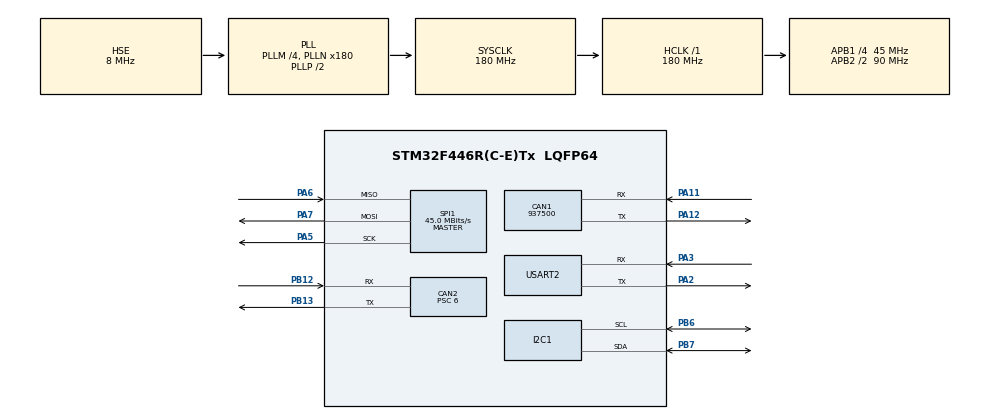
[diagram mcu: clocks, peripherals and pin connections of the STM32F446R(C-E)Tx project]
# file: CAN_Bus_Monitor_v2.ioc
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CAN1.BS1=CAN_BS1_1TQ
CAN1.BS2=CAN_BS2_1TQ
CAN1.CalculateBaudRate=937500
CAN1.CalculateTimeBit=1066
CAN1.CalculateTimeQuantum=355.55555555555554
CAN2.BS1=CAN_BS1_11TQ
CAN2.BS2=CAN_BS2_2TQ
CAN2.CalculateBaudRate=535714
CAN2.CalculateTimeBit=1866
CAN2.CalculateTimeQuantum=133.33333333333331
CAN2.Mode=CAN_MODE_LOOPBACK
CAN2.Prescaler=6
FREERTOS.Queues01=SensorQueue,5,uint32_t,0,Dynamic,NULL,NULL;CANRxQueue,10,uint32_t,0,Dynamic,NULL,NULL;ErrorQueue,5,uint32_t,0,Dynamic,NULL,NULL
FREERTOS.Tasks01=defaultTask,24,128,StartDefaultTask,Default,NULL,Dynamic,NULL,NULL;SensorTask,40,256,StartSensorTask,Default,NULL,Dynamic,NULL,NULL;CANTxTask,41,256,StartCANTxTask,Default,NULL,Dynamic,NULL,NULL;CANRxTask,42,256,StartCANRxTask,Default,NULL,Dynamic,NULL,NULL;ErrorTask,16,256,StartErrorTask,Default,NULL,Dynamic,NULL,NULL;LogTask,24,256,StartLogTask,Default,NULL,Dynamic,NULL,NULL;UARTTask,8,256,StartUARTTask,Default,NULL,Dynamic,NULL,NULL
Mcu.Family=STM32F4
Mcu.Name=STM32F446R(C-E)Tx
Mcu.Package=LQFP64
NVIC.PriorityGroup=NVIC_PRIORITYGROUP_4
NVIC.TIM1_UP_TIM10_IRQn=true\:15\:0\:false\:false\:true\:false\:false\:true\:true
NVIC.TimeBase=TIM1_UP_TIM10_IRQn
NVIC.TimeBaseIP=TIM1
PA11.Mode=CAN_Activate
PA11.Signal=CAN1_RX
PA12.Mode=CAN_Activate
PA12.Signal=CAN1_TX
PA2.Mode=Asynchronous
PA2.Signal=USART2_TX
PA3.Mode=Asynchronous
PA3.Signal=USART2_RX
PA5.Mode=Full_Duplex_Master
PA5.Signal=SPI1_SCK
PA6.Mode=Full_Duplex_Master
PA6.Signal=SPI1_MISO
PA7.Mode=Full_Duplex_Master
PA7.Signal=SPI1_MOSI
PB12.Mode=CAN_Activate
PB12.Signal=CAN2_RX
PB13.Mode=CAN_Activate
PB13.Signal=CAN2_TX
PB6.Mode=I2C
PB6.Signal=I2C1_SCL
PB7.Mode=I2C
PB7.Signal=I2C1_SDA
PH0-OSC_IN.Mode=HSE-External-Oscillator
PH0-OSC_IN.Signal=RCC_OSC_IN
PH1-OSC_OUT.Mode=HSE-External-Oscillator
PH1-OSC_OUT.Signal=RCC_OSC_OUT
ProjectManager.HeapSize=0x200
ProjectManager.StackSize=0x400
ProjectManager.TargetToolchain=STM32CubeIDE
RCC.AHBFreq_Value=180000000
RCC.APB1CLKDivider=RCC_HCLK_DIV4
RCC.APB1Freq_Value=45000000
RCC.APB1TimFreq_Value=90000000
RCC.APB2CLKDivider=RCC_HCLK_DIV2
RCC.APB2Freq_Value=90000000
RCC.APB2TimFreq_Value=180000000
RCC.CortexFreq_Value=180000000
RCC.FLatency-AdvancedSettings=FLASH_LATENCY_5
RCC.HCLKFreq_Value=180000000
RCC.HSE_VALUE=8000000
RCC.HSI_VALUE=16000000
RCC.LSE_VALUE=32768
RCC.PLLM=4
RCC.PLLN=180
RCC.PLLSourceVirtual=RCC_PLLSOURCE_HSE
RCC.SYSCLKFreq_VALUE=180000000
RCC.SYSCLKSource=RCC_SYSCLKSOURCE_PLLCLK
RCC.USBFreq_Value=180000000
RCC.VCOOutputFreq_Value=360000000
SPI1.BaudRatePrescaler=SPI_BAUDRATEPRESCALER_2
SPI1.CalculateBaudRate=45.0 MBits/s
SPI1.Direction=SPI_DIRECTION_2LINES
SPI1.Mode=SPI_MODE_MASTER
SPI1.VirtualType=VM_MASTER
USART2.VirtualMode=VM_ASYNC
VP_FATFS_VS_Generic.Mode=User_defined
VP_FREERTOS_VS_CMSIS_V2.Mode=CMSIS_V2
VP_SYS_VS_tim1.Mode=TIM1
board=NUCLEO-F446RE

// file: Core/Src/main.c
/* USER CODE BEGIN Header */
/**
  ******************************************************************************
  * @file           : main.c
  * @brief          : Main program body
  ******************************************************************************
  * @attention
  *
  * Copyright (c) 2026 STMicroelectronics.
  * All rights reserved.
  *
  * This software is licensed under terms that can be found in the LICENSE file
  * in the root directory of this software component.
  * If no LICENSE file comes with this software, it is provided AS-IS.
  *
  ******************************************************************************
  */
/* USER CODE END Header */
#include "main.h"
#include "cmsis_os.h"
#include "fatfs.h"

/* USER CODE BEGIN Includes */
#include "string.h"
#include "stdio.h"
/* USER CODE END Includes */

CAN_HandleTypeDef hcan1;
CAN_HandleTypeDef hcan2;

I2C_HandleTypeDef hi2c1;

SPI_HandleTypeDef hspi1;

UART_HandleTypeDef huart2;

/* Definitions for defaultTask */
osThreadId_t defaultTaskHandle;
const osThreadAttr_t defaultTask_attributes = {
  .name = "defaultTask",
  .stack_size = 128 * 4,
  .priority = (osPriority_t) osPriorityNormal,
};
/* Definitions for SensorTask */
osThreadId_t SensorTaskHandle;
const osThreadAttr_t SensorTask_attributes = {
  .name = "SensorTask",
  .stack_size = 1024 * 4,
  .priority = (osPriority_t) osPriorityHigh,
};
/* Definitions for CANTxTask */
osThreadId_t CANTxTaskHandle;
const osThreadAttr_t CANTxTask_attributes = {
  .name = "CANTxTask",
  .stack_size = 512 * 4,
  .priority = (osPriority_t) osPriorityHigh1,
};
/* Definitions for CANRxTask */
osThreadId_t CANRxTaskHandle;
const osThreadAttr_t CANRxTask_attributes = {
  .name = "CANRxTask",
  .stack_size = 256 * 4,
  .priority = (osPriority_t) osPriorityHigh2,
};
/* Definitions for ErrorTask */
osThreadId_t ErrorTaskHandle;
const osThreadAttr_t ErrorTask_attributes = {
  .name = "ErrorTask",
  .stack_size = 256 * 4,
  .priority = (osPriority_t) osPriorityBelowNormal,
};
/* Definitions for LogTask */
osThreadId_t LogTaskHandle;
const osThreadAttr_t LogTask_attributes = {
  .name = "LogTask",
  .stack_size = 2048 * 4,
  .priority = (osPriority_t) osPriorityNormal,
};
/* Definitions for UARTTask */
osThreadId_t UARTTaskHandle;
const osThreadAttr_t UARTTask_attributes = {
  .name = "UARTTask",
  .stack_size = 256 * 4,
  .priority = (osPriority_t) osPriorityLow,
};
/* Definitions for SensorQueue */
osMessageQueueId_t SensorQueueHandle;
const osMessageQueueAttr_t SensorQueue_attributes = {
  .name = "SensorQueue"
};
/* Definitions for CANRxQueue */
osMessageQueueId_t CANRxQueueHandle;
const osMessageQueueAttr_t CANRxQueue_attributes = {
  .name = "CANRxQueue"
};
/* Definitions for ErrorQueue */
osMessageQueueId_t ErrorQueueHandle;
const osMessageQueueAttr_t ErrorQueue_attributes = {
  .name = "ErrorQueue"
};
/* USER CODE BEGIN PV */
uint32_t canError = 0;
volatile float g_temp = 0;
volatile float g_pres = 0;
volatile float g_hum  = 0;
/* USER CODE END PV */

void SystemClock_Config(void);
static void MX_GPIO_Init(void);
static void MX_CAN1_Init(void);
static void MX_CAN2_Init(void);
static void MX_I2C1_Init(void);
static void MX_SPI1_Init(void);
static void MX_USART2_UART_Init(void);
void StartDefaultTask(void *argument);
void StartSensorTask(void *argument);
void StartCANTxTask(void *argument);
void StartCANRxTask(void *argument);
void StartErrorTask(void *argument);
void StartLogTask(void *argument);
void StartUARTTask(void *argument);

int main(void)
{

  /* MCU Configuration--------------------------------------------------------*/

  /* Reset of all peripherals, Initializes the Flash interface and the Systick. */
  HAL_Init();

  /* Configure the system clock */
  SystemClock_Config();

  /* Initialize all configured peripherals */
  MX_GPIO_Init();
  MX_CAN1_Init();
  MX_CAN2_Init();
  MX_I2C1_Init();
  MX_SPI1_Init();
  MX_USART2_UART_Init();
  MX_FATFS_Init();
  /* USER CODE BEGIN 2 */
  char *boot = "System booting...\r\n";
  HAL_UART_Transmit(&huart2, (uint8_t*)boot, strlen(boot), 100);

  CAN_FilterTypeDef sFilterConfig;
  sFilterConfig.FilterBank = 14;
  sFilterConfig.FilterMode = CAN_FILTERMODE_IDMASK;
  sFilterConfig.FilterScale = CAN_FILTERSCALE_32BIT;
  sFilterConfig.FilterIdHigh = 0x0000;
  sFilterConfig.FilterIdLow = 0x0000;
  sFilterConfig.FilterMaskIdHigh = 0x0000;
  sFilterConfig.FilterMaskIdLow = 0x0000;
  sFilterConfig.FilterFIFOAssignment = CAN_RX_FIFO0;
  sFilterConfig.FilterActivation = ENABLE;
  sFilterConfig.SlaveStartFilterBank = 14;
  HAL_CAN_ConfigFilter(&hcan2, &sFilterConfig);

  HAL_StatusTypeDef sr = HAL_CAN_Start(&hcan2);
  HAL_CAN_ActivateNotification(&hcan2, CAN_IT_RX_FIFO0_MSG_PENDING);
  char m[60];
  snprintf(m, sizeof(m), "CAN2 Start:%d State:%d\r\n", sr, HAL_CAN_GetState(&hcan2));
  HAL_UART_Transmit(&huart2, (uint8_t*)m, strlen(m), 100);
  /* USER CODE END 2 */

  /* Init scheduler */
  osKernelInitialize();

  /* Create the queue(s) */
  /* creation of SensorQueue */
  SensorQueueHandle = osMessageQueueNew (5, sizeof(uint32_t), &SensorQueue_attributes);

  /* creation of CANRxQueue */
  CANRxQueueHandle = osMessageQueueNew (10, sizeof(uint32_t), &CANRxQueue_attributes);

  /* creation of ErrorQueue */
  ErrorQueueHandle = osMessageQueueNew (5, sizeof(uint32_t), &ErrorQueue_attributes);

  /* Create the thread(s) */
  /* creation of defaultTask */
  defaultTaskHandle = osThreadNew(StartDefaultTask, NULL, &defaultTask_attributes);

  /* creation of SensorTask */
  SensorTaskHandle = osThreadNew(StartSensorTask, NULL, &SensorTask_attributes);

  /* creation of CANTxTask */
  CANTxTaskHandle = osThreadNew(StartCANTxTask, NULL, &CANTxTask_attributes);

  /* creation of CANRxTask */
  CANRxTaskHandle = osThreadNew(StartCANRxTask, NULL, &CANRxTask_attributes);

  /* creation of ErrorTask */
  ErrorTaskHandle = osThreadNew(StartErrorTask, NULL, &ErrorTask_attributes);

  /* creation of LogTask */
  LogTaskHandle = osThreadNew(StartLogTask, NULL, &LogTask_attributes);

  /* creation of UARTTask */
  UARTTaskHandle = osThreadNew(StartUARTTask, NULL, &UARTTask_attributes);

  /* Start scheduler */
  osKernelStart();

  /* We should never get here as control is now taken by the scheduler */

  /* Infinite loop */
  while (1)
  {

  }
}

void SystemClock_Config(void)
{
  RCC_OscInitTypeDef RCC_OscInitStruct = {0};
  RCC_ClkInitTypeDef RCC_ClkInitStruct = {0};

  /** Configure the main internal regulator output voltage
  */
  __HAL_RCC_PWR_CLK_ENABLE();
  __HAL_PWR_VOLTAGESCALING_CONFIG(PWR_REGULATOR_VOLTAGE_SCALE1);

  /** Initializes the RCC Oscillators according to the specified parameters
  * in the RCC_OscInitTypeDef structure.
  */
  RCC_OscInitStruct.OscillatorType = RCC_OSCILLATORTYPE_HSE;
  RCC_OscInitStruct.HSEState = RCC_HSE_ON;
  RCC_OscInitStruct.PLL.PLLState = RCC_PLL_ON;
  RCC_OscInitStruct.PLL.PLLSource = RCC_PLLSOURCE_HSE;
  RCC_OscInitStruct.PLL.PLLM = 4;
  RCC_OscInitStruct.PLL.PLLN = 180;
  RCC_OscInitStruct.PLL.PLLP = RCC_PLLP_DIV2;
  RCC_OscInitStruct.PLL.PLLQ = 2;
  RCC_OscInitStruct.PLL.PLLR = 2;
  if (HAL_RCC_OscConfig(&RCC_OscInitStruct) != HAL_OK)
  {
    Error_Handler();
  }

  /** Activate the Over-Drive mode
  */
  if (HAL_PWREx_EnableOverDrive() != HAL_OK)
  {
    Error_Handler();
  }

  /** Initializes the CPU, AHB and APB buses clocks
  */
  RCC_ClkInitStruct.ClockType = RCC_CLOCKTYPE_HCLK|RCC_CLOCKTYPE_SYSCLK
                              |RCC_CLOCKTYPE_PCLK1|RCC_CLOCKTYPE_PCLK2;
  RCC_ClkInitStruct.SYSCLKSource = RCC_SYSCLKSOURCE_PLLCLK;
  RCC_ClkInitStruct.AHBCLKDivider = RCC_SYSCLK_DIV1;
  RCC_ClkInitStruct.APB1CLKDivider = RCC_HCLK_DIV4;
  RCC_ClkInitStruct.APB2CLKDivider = RCC_HCLK_DIV2;

  if (HAL_RCC_ClockConfig(&RCC_ClkInitStruct, FLASH_LATENCY_5) != HAL_OK)
  {
    Error_Handler();
  }
}

static void MX_CAN1_Init(void)
{

  /* USER CODE BEGIN CAN1_Init 0 */
	__HAL_RCC_CAN1_CLK_ENABLE();

  /* USER CODE END CAN1_Init 0 */

  hcan1.Instance = CAN1;
  hcan1.Init.Prescaler = 5;
  hcan1.Init.Mode = CAN_MODE_NORMAL;
  hcan1.Init.SyncJumpWidth = CAN_SJW_1TQ;
  hcan1.Init.TimeSeg1 = CAN_BS1_15TQ;
  hcan1.Init.TimeSeg2 = CAN_BS2_2TQ;
  hcan1.Init.TimeTriggeredMode = DISABLE;
  hcan1.Init.AutoBusOff = DISABLE;
  hcan1.Init.AutoWakeUp = DISABLE;
  hcan1.Init.AutoRetransmission = DISABLE;
  hcan1.Init.ReceiveFifoLocked = DISABLE;
  hcan1.Init.TransmitFifoPriority = DISABLE;
  if (HAL_CAN_Init(&hcan1) != HAL_OK)
  {
    Error_Handler();
  }

}

static void MX_CAN2_Init(void)
{

  /* USER CODE BEGIN CAN2_Init 0 */
	__HAL_RCC_CAN1_CLK_ENABLE();
  /* USER CODE END CAN2_Init 0 */

  hcan2.Instance = CAN2;
  hcan2.Init.Prescaler = 6;
  hcan2.Init.Mode = CAN_MODE_LOOPBACK;
  hcan2.Init.SyncJumpWidth = CAN_SJW_1TQ;
  hcan2.Init.TimeSeg1 = CAN_BS1_11TQ;
  hcan2.Init.TimeSeg2 = CAN_BS2_2TQ;
  hcan2.Init.TimeTriggeredMode = DISABLE;
  hcan2.Init.AutoBusOff = DISABLE;
  hcan2.Init.AutoWakeUp = DISABLE;
  hcan2.Init.AutoRetransmission = DISABLE;
  hcan2.Init.ReceiveFifoLocked = DISABLE;
  hcan2.Init.TransmitFifoPriority = DISABLE;
  if (HAL_CAN_Init(&hcan2) != HAL_OK)
  {
    Error_Handler();
  }
  /* USER CODE BEGIN CAN2_Init 2 */
  CAN_FilterTypeDef sFilterConfig;
  sFilterConfig.FilterBank = 0;
  sFilterConfig.FilterMode = CAN_FILTERMODE_IDMASK;
  sFilterConfig.FilterScale = CAN_FILTERSCALE_32BIT;
  sFilterConfig.FilterIdHigh = 0x0000;
  sFilterConfig.FilterIdLow = 0x0000;
  sFilterConfig.FilterMaskIdHigh = 0x0000;
  sFilterConfig.FilterMaskIdLow = 0x0000;
  sFilterConfig.FilterFIFOAssignment = CAN_RX_FIFO0;
  sFilterConfig.FilterActivation = ENABLE;
  sFilterConfig.SlaveStartFilterBank = 14;
  HAL_CAN_ConfigFilter(&hcan1, &sFilterConfig);
  /* USER CODE END CAN2_Init 2 */

}

static void MX_I2C1_Init(void)
{

  hi2c1.Instance = I2C1;
  hi2c1.Init.ClockSpeed = 100000;
  hi2c1.Init.DutyCycle = I2C_DUTYCYCLE_2;
  hi2c1.Init.OwnAddress1 = 0;
  hi2c1.Init.AddressingMode = I2C_ADDRESSINGMODE_7BIT;
  hi2c1.Init.DualAddressMode = I2C_DUALADDRESS_DISABLE;
  hi2c1.Init.OwnAddress2 = 0;
  hi2c1.Init.GeneralCallMode = I2C_GENERALCALL_DISABLE;
  hi2c1.Init.NoStretchMode = I2C_NOSTRETCH_DISABLE;
  if (HAL_I2C_Init(&hi2c1) != HAL_OK)
  {
    Error_Handler();
  }

}

static void MX_SPI1_Init(void)
{

  /* SPI1 parameter configuration*/
  hspi1.Instance = SPI3;
  hspi1.Init.Mode = SPI_MODE_MASTER;
  hspi1.Init.Direction = SPI_DIRECTION_2LINES;
  hspi1.Init.DataSize = SPI_DATASIZE_8BIT;
  hspi1.Init.CLKPolarity = SPI_POLARITY_LOW;
  hspi1.Init.CLKPhase = SPI_PHASE_1EDGE;
  hspi1.Init.NSS = SPI_NSS_SOFT;
  hspi1.Init.BaudRatePrescaler = SPI_BAUDRATEPRESCALER_2;
  hspi1.Init.FirstBit = SPI_FIRSTBIT_MSB;
  hspi1.Init.TIMode = SPI_TIMODE_DISABLE;
  hspi1.Init.CRCCalculation = SPI_CRCCALCULATION_DISABLE;
  hspi1.Init.CRCPolynomial = 10;
  if (HAL_SPI_Init(&hspi1) != HAL_OK)
  {
    Error_Handler();
  }

}

static void MX_USART2_UART_Init(void)
{

  huart2.Instance = USART2;
  huart2.Init.BaudRate = 115200;
  huart2.Init.WordLength = UART_WORDLENGTH_8B;
  huart2.Init.StopBits = UART_STOPBITS_1;
  huart2.Init.Parity = UART_PARITY_NONE;
  huart2.Init.Mode = UART_MODE_TX_RX;
  huart2.Init.HwFlowCtl = UART_HWCONTROL_NONE;
  huart2.Init.OverSampling = UART_OVERSAMPLING_16;
  if (HAL_UART_Init(&huart2) != HAL_OK)
  {
    Error_Handler();
  }

}

static void MX_GPIO_Init(void)
{

  /* GPIO Ports Clock Enable */
  __HAL_RCC_GPIOH_CLK_ENABLE();
  __HAL_RCC_GPIOA_CLK_ENABLE();
  __HAL_RCC_GPIOB_CLK_ENABLE();

  /* USER CODE BEGIN MX_GPIO_Init_2 */

  GPIO_InitTypeDef GPIO_InitStruct = {0};
    GPIO_InitStruct.Pin = GPIO_PIN_4;
    GPIO_InitStruct.Mode = GPIO_MODE_OUTPUT_PP;
    GPIO_InitStruct.Pull = GPIO_PULLUP;
    GPIO_InitStruct.Speed = GPIO_SPEED_FREQ_VERY_HIGH;
    HAL_GPIO_Init(GPIOA, &GPIO_InitStruct);
    HAL_GPIO_WritePin(GPIOA, GPIO_PIN_4, GPIO_PIN_SET);

  /* USER CODE END MX_GPIO_Init_2 */

}

/* USER CODE BEGIN 4 */

uint16_t dig_T1;
int16_t  dig_T2, dig_T3;
uint16_t dig_P1;
int16_t  dig_P2, dig_P3, dig_P4, dig_P5;
int16_t  dig_P6, dig_P7, dig_P8, dig_P9;
uint8_t  dig_H1;
int16_t  dig_H2;
uint8_t  dig_H3;
int16_t  dig_H4, dig_H5;
int8_t   dig_H6;

void I2C_Scan(void)
{
    char msg[50];
    char *start = "Starting I2C Scan...\r\n";
    HAL_UART_Transmit(&huart2, (uint8_t*)start, strlen(start), 100);
    for(uint8_t addr = 1; addr < 128; addr++)
    {
        if(HAL_I2C_IsDeviceReady(&hi2c1, addr << 1, 1, 10) == HAL_OK)
        {
            snprintf(msg, sizeof(msg), "Device found at: 0x%02X\r\n", addr);
            HAL_UART_Transmit(&huart2, (uint8_t*)msg, strlen(msg), 100);
        }
    }
    char *done = "I2C Scan complete.\r\n";
    HAL_UART_Transmit(&huart2, (uint8_t*)done, strlen(done), 100);
}

void BME280_ReadCalibration(void)
{
    uint8_t calib[6];
    uint8_t reg = 0x88;
    HAL_StatusTypeDef status;
    status = HAL_I2C_Master_Transmit(&hi2c1, 0x76<<1, &reg, 1, 100);
    if(status != HAL_OK) {
        char *err = "Calibration Transmit FAILED!\r\n";
        HAL_UART_Transmit(&huart2, (uint8_t*)err, strlen(err), 100);
        return;
    }
    status = HAL_I2C_Master_Receive(&hi2c1, 0x76<<1, calib, 6, 100);
    if(status != HAL_OK) {
        char *err = "Calibration Receive FAILED!\r\n";
        HAL_UART_Transmit(&huart2, (uint8_t*)err, strlen(err), 100);
        return;
    }
    dig_T1 = (uint16_t)(calib[1]<<8|calib[0]);
    dig_T2 = (int16_t)(calib[3]<<8|calib[2]);
    dig_T3 = (int16_t)(calib[5]<<8|calib[4]);
    char msg[80];
    snprintf(msg, sizeof(msg), "T1:%u T2:%d T3:%d\r\n", dig_T1, dig_T2, dig_T3);
    HAL_UART_Transmit(&huart2, (uint8_t*)msg, strlen(msg), 100);
}

void BME280_ReadPressureCalibration(void)
{
    uint8_t calib[18];
    uint8_t reg = 0x8E;
    HAL_I2C_Master_Transmit(&hi2c1, 0x76<<1, &reg, 1, 100);
    HAL_I2C_Master_Receive(&hi2c1, 0x76<<1, calib, 18, 100);
    dig_P1 = (uint16_t)(calib[1]<<8|calib[0]);
    dig_P2 = (int16_t)(calib[3]<<8|calib[2]);
    dig_P3 = (int16_t)(calib[5]<<8|calib[4]);
    dig_P4 = (int16_t)(calib[7]<<8|calib[6]);
    dig_P5 = (int16_t)(calib[9]<<8|calib[8]);
    dig_P6 = (int16_t)(calib[11]<<8|calib[10]);
    dig_P7 = (int16_t)(calib[13]<<8|calib[12]);
    dig_P8 = (int16_t)(calib[15]<<8|calib[14]);
    dig_P9 = (int16_t)(calib[17]<<8|calib[16]);
}

void BME280_ReadHumidityCalibration(void)
{
    uint8_t calib1, calib2[7];
    uint8_t reg;
    reg = 0xA1;
    HAL_I2C_Master_Transmit(&hi2c1, 0x76<<1, &reg, 1, 100);
    HAL_I2C_Master_Receive(&hi2c1, 0x76<<1, &calib1, 1, 100);
    dig_H1 = calib1;
    reg = 0xE1;
    HAL_I2C_Master_Transmit(&hi2c1, 0x76<<1, &reg, 1, 100);
    HAL_I2C_Master_Receive(&hi2c1, 0x76<<1, calib2, 7, 100);
    dig_H2 = (int16_t)(calib2[1]<<8|calib2[0]);
    dig_H3 = calib2[2];
    dig_H4 = (int16_t)(calib2[3]<<4|(calib2[4]&0x0F));
    dig_H5 = (int16_t)(calib2[5]<<4|(calib2[4]>>4));
    dig_H6 = (int8_t)calib2[6];
}

void BME280_Init()
{
    uint8_t data[2];
    data[0] = 0xF2;
    data[1] = 0x01;
    HAL_I2C_Master_Transmit(&hi2c1, 0x76<<1, data, 2, 100);
    data[0] = 0xF4;
    data[1] = 0x27;
    HAL_I2C_Master_Transmit(&hi2c1, 0x76<<1, data, 2, 100);
}

int32_t BME280_ReadRawTemperature(void)
{
    uint8_t data[3];
    uint8_t reg = 0xFA;
    HAL_I2C_Master_Transmit(&hi2c1, 0x76<<1, &reg, 1, 100);
    HAL_I2C_Master_Receive(&hi2c1, 0x76<<1, data, 3, 100);
    return (int32_t)(data[0]<<12|data[1]<<4|data[2]>>4);
}

int32_t BME280_ReadRawPressure(void)
{
    uint8_t data[3];
    uint8_t reg = 0xF7;
    HAL_I2C_Master_Transmit(&hi2c1, 0x76<<1, &reg, 1, 100);
    HAL_I2C_Master_Receive(&hi2c1, 0x76<<1, data, 3, 100);
    return (int32_t)(data[0]<<12|data[1]<<4|data[2]>>4);
}

int32_t BME280_ReadRawHumidity(void)
{
    uint8_t data[2];
    uint8_t reg = 0xFD;
    HAL_I2C_Master_Transmit(&hi2c1, 0x76<<1, &reg, 1, 100);
    HAL_I2C_Master_Receive(&hi2c1, 0x76<<1, data, 2, 100);
    return (int32_t)(data[0]<<8|data[1]);
}

float BME280_GetTemperature(int32_t raw)
{
    int32_t var1, var2;
    var1 = ((((raw>>3)-((int32_t)dig_T1<<1)))*((int32_t)dig_T2))>>11;
    var2 = (((((raw>>4)-((int32_t)dig_T1))*((raw>>4)-((int32_t)dig_T1)))>>12)*((int32_t)dig_T3))>>14;
    int32_t t_fine = var1 + var2;
    return (float)((t_fine * 5 + 128) >> 8) / 100.0f;
}

float BME280_GetPressure(int32_t raw_temp, int32_t raw_pres)
{
    int32_t var1, var2;
    var1 = ((((raw_temp>>3)-((int32_t)dig_T1<<1)))*((int32_t)dig_T2))>>11;
    var2 = (((((raw_temp>>4)-((int32_t)dig_T1))*((raw_temp>>4)-((int32_t)dig_T1)))>>12)*((int32_t)dig_T3))>>14;
    int32_t t_fine = var1 + var2;
    int64_t p_var1, p_var2, p;
    p_var1 = ((int64_t)t_fine) - 128000;
    p_var2 = p_var1 * p_var1 * (int64_t)dig_P6;
    p_var2 = p_var2 + ((p_var1*(int64_t)dig_P5)<<17);
    p_var2 = p_var2 + (((int64_t)dig_P4)<<35);
    p_var1 = ((p_var1*p_var1*(int64_t)dig_P3)>>8)+((p_var1*(int64_t)dig_P2)<<12);
    p_var1 = (((((int64_t)1)<<47)+p_var1))*((int64_t)dig_P1)>>33;
    if(p_var1 == 0) return 0;
    p = 1048576 - raw_pres;
    p = (((p<<31)-p_var2)*3125)/p_var1;
    p_var1 = (((int64_t)dig_P9)*(p>>13)*(p>>13))>>25;
    p_var2 = (((int64_t)dig_P8)*p)>>19;
    p = ((p+p_var1+p_var2)>>8)+(((int64_t)dig_P7)<<4);
    return (float)p/256.0f/100.0f;
}

float BME280_GetHumidity(int32_t raw_temp, int32_t raw_hum)
{
    int32_t var1, var2;
    var1 = ((((raw_temp>>3)-((int32_t)dig_T1<<1)))*((int32_t)dig_T2))>>11;
    var2 = (((((raw_temp>>4)-((int32_t)dig_T1))*((raw_temp>>4)-((int32_t)dig_T1)))>>12)*((int32_t)dig_T3))>>14;
    int32_t t_fine = var1 + var2;
    int32_t h;
    h = t_fine - 76800;
    h = (((((raw_hum<<14)-(((int32_t)dig_H4)<<20)-(((int32_t)dig_H5)*h))+16384)>>15)*
        (((((((h*((int32_t)dig_H6))>>10)*(((h*((int32_t)dig_H3))>>11)+32768))>>10)+2097152)*
        ((int32_t)dig_H2)+8192)>>14));
    h = h-(((((h>>15)*(h>>15))>>7)*((int32_t)dig_H1))>>4);
    h = h<0?0:h;
    h = h>419430400?419430400:h;
    return (float)(h>>12)/1024.0f;
}

/* USER CODE END 4 */

void StartDefaultTask(void *argument)
{
  for(;;)
  {
    osDelay(1);
  }
}

void StartSensorTask(void *argument)
{
  /* USER CODE BEGIN StartSensorTask */
  char *test = "SensorTask started!\r\n";
  HAL_UART_Transmit(&huart2, (uint8_t*)test, strlen(test), 100);
  osDelay(1000);

  //I2C_Scan();
  BME280_ReadCalibration();
  BME280_ReadPressureCalibration();
  BME280_ReadHumidityCalibration();
  BME280_Init();
  osDelay(300);

  for(;;)
  {

      int32_t raw_temp = BME280_ReadRawTemperature();
      int32_t raw_pres = BME280_ReadRawPressure();
      int32_t raw_hum  = BME280_ReadRawHumidity();

      float temp = BME280_GetTemperature(raw_temp);
      float pres = BME280_GetPressure(raw_temp, raw_pres);
      float hum  = BME280_GetHumidity(raw_temp, raw_hum);

      uint32_t temp_raw = *((uint32_t*)&temp);
      uint32_t pres_raw = *((uint32_t*)&pres);
      uint32_t hum_raw  = *((uint32_t*)&hum);

      g_temp = temp;
      g_pres = pres;
      g_hum  = hum;
      osMessageQueueReset(SensorQueueHandle);
      osMessageQueuePut(SensorQueueHandle, &temp_raw, 0, 0);
      osMessageQueuePut(SensorQueueHandle, &pres_raw, 0, 0);
      osMessageQueuePut(SensorQueueHandle, &hum_raw,  0, 0);

      char msg[80];
      snprintf(msg, sizeof(msg), "T:%.2fC P:%.2fhPa H:%.2f%%\r\n", temp, pres, hum);
      HAL_UART_Transmit(&huart2, (uint8_t*)msg, strlen(msg), 100);

      osDelay(1000);
  }
  /* USER CODE END StartSensorTask */
}

void StartCANTxTask(void *argument)
{
  /* USER CODE BEGIN StartCANTxTask */
  char *test = "CANTxTask started!\r\n";
  HAL_UART_Transmit(&huart2, (uint8_t*)test, strlen(test), 100);
  osDelay(500);

  CAN_TxHeaderTypeDef TxHeader;
  uint8_t TxData[4];
  uint32_t TxMailbox;

  TxHeader.IDE = CAN_ID_STD;
  TxHeader.RTR = CAN_RTR_DATA;
  TxHeader.DLC = 4;
  TxHeader.TransmitGlobalTime = DISABLE;

  for(;;)
  {
      uint32_t temp_raw;
      if(osMessageQueueGet(SensorQueueHandle, &temp_raw, NULL, 100) == osOK)
      {
          TxHeader.StdId = 0x100;
          TxData[0] = (temp_raw >> 24) & 0xFF;
          TxData[1] = (temp_raw >> 16) & 0xFF;
          TxData[2] = (temp_raw >> 8)  & 0xFF;
          TxData[3] = (temp_raw)       & 0xFF;
          while(HAL_CAN_GetTxMailboxesFreeLevel(&hcan2) == 0) { osDelay(1); }
          HAL_CAN_AddTxMessage(&hcan2, &TxHeader, TxData, &TxMailbox);

          uint32_t pres_raw;
          if(osMessageQueueGet(SensorQueueHandle, &pres_raw, NULL, 100) == osOK)
          {
              TxHeader.StdId = 0x101;
              TxData[0] = (pres_raw >> 24) & 0xFF;
              TxData[1] = (pres_raw >> 16) & 0xFF;
              TxData[2] = (pres_raw >> 8)  & 0xFF;
              TxData[3] = (pres_raw)       & 0xFF;
              HAL_CAN_AddTxMessage(&hcan2, &TxHeader, TxData, &TxMailbox);
          }

          uint32_t hum_raw;
          if(osMessageQueueGet(SensorQueueHandle, &hum_raw, NULL, 100) == osOK)
          {
              TxHeader.StdId = 0x102;
              TxData[0] = (hum_raw >> 24) & 0xFF;
              TxData[1] = (hum_raw >> 16) & 0xFF;
              TxData[2] = (hum_raw >> 8)  & 0xFF;
              TxData[3] = (hum_raw)       & 0xFF;
              HAL_CAN_AddTxMessage(&hcan2, &TxHeader, TxData, &TxMailbox);
          }

          char *msg = "CAN TX OK!\r\n";
          HAL_UART_Transmit(&huart2, (uint8_t*)msg, strlen(msg), 100);
      }
      osDelay(200);
  }
  /* USER CODE END StartCANTxTask */
}

void StartCANRxTask(void *argument)
{
  /* USER CODE BEGIN StartCANRxTask */
  char *test = "CANRxTask started!\r\n";
  HAL_UART_Transmit(&huart2, (uint8_t*)test, strlen(test), 100);

  for(;;)
  {
      while(HAL_CAN_GetRxFifoFillLevel(&hcan2, CAN_RX_FIFO0) > 0)
      {
          CAN_RxHeaderTypeDef RxHeader;
          uint8_t RxData[8];
          HAL_CAN_GetRxMessage(&hcan2, CAN_RX_FIFO0, &RxHeader, RxData);

          uint32_t raw = ((uint32_t)RxData[0]<<24)|
                         ((uint32_t)RxData[1]<<16)|
                         ((uint32_t)RxData[2]<<8) |
                         ((uint32_t)RxData[3]);
          float value = *((float*)&raw);

          char *rcvr = "Received_";
          HAL_UART_Transmit(&huart2, (uint8_t*)rcvr, strlen(rcvr), 100);

          char msg[60];
          if(RxHeader.StdId == 0x100)
              snprintf(msg, sizeof(msg), "Temp: %.2f C\r\n", value);
          else if(RxHeader.StdId == 0x101)
              snprintf(msg, sizeof(msg), "Pres: %.2f hPa\r\n", value);
          else if(RxHeader.StdId == 0x102)
              snprintf(msg, sizeof(msg), "Hum: %.2f %%\r\n", value);

          HAL_UART_Transmit(&huart2, (uint8_t*)msg, strlen(msg), 100);
      }
      osDelay(100);
  }
  /* USER CODE END StartCANRxTask */
}

void StartErrorTask(void *argument)
{
  for(;;)
  {
    osDelay(1);
  }
}

void StartLogTask(void *argument)
{
  /* USER CODE BEGIN StartLogTask */
  char *start = "LogTask started!\r\n";
  HAL_UART_Transmit(&huart2, (uint8_t*)start, strlen(start), 100);

  FATFS fs;
  FIL fil;
  FRESULT res;
  char line[100];

  osDelay(3000);

  res = f_mount(&fs, "", 0);
  char *mnt = res == FR_OK ? "SD Mounted!\r\n" : "SD Mount FAILED!\r\n";
  HAL_UART_Transmit(&huart2, (uint8_t*)mnt, strlen(mnt), 100);

  /* Write header on first boot */
  if(res == FR_OK)
  {
      FRESULT fres = f_open(&fil, "data.txt", FA_OPEN_ALWAYS | FA_WRITE);
      if(fres == FR_OK)
      {
          if(f_size(&fil) == 0)
          {
              f_puts("Temperature(C), Pressure(hPa), Humidity(%)\n", &fil);
          }
          f_close(&fil);
      }
  }

  for(;;)
  {
      if(res == FR_OK)
      {
          FRESULT fres = f_open(&fil, "data.txt", FA_OPEN_ALWAYS | FA_WRITE);
          if(fres == FR_OK)
          {
              f_lseek(&fil, f_size(&fil));
              snprintf(line, sizeof(line),
                  "Temperature:%.2fC, Pressure:%.2fhPa, Hum:%.2f%%\n",
                  g_temp, g_pres, g_hum);
              f_puts(line, &fil);
              f_close(&fil);

              char *log = "SD Write OK!\r\n";
              HAL_UART_Transmit(&huart2, (uint8_t*)log, strlen(log), 100);
          }
          else
          {
              char dbg[40];
              snprintf(dbg, sizeof(dbg), "Open failed: %d\r\n", fres);
              HAL_UART_Transmit(&huart2, (uint8_t*)dbg, strlen(dbg), 100);
          }
      }
      osDelay(5000);
  }
  /* USER CODE END StartLogTask */
}

void StartUARTTask(void *argument)
{
  for(;;)
  {
    osDelay(1);
  }
}

void Error_Handler(void)
{
  __disable_irq();
  while (1)
  {
  }
}
